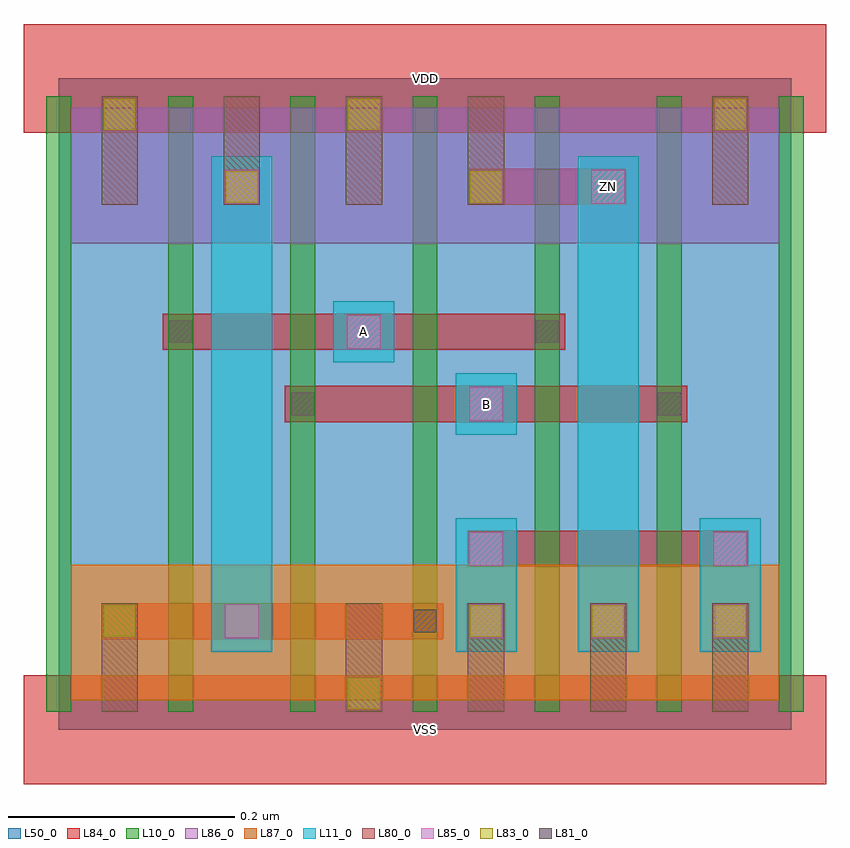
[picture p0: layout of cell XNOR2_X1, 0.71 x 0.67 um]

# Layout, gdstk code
import gdstk
lib = gdstk.Library(unit=1e-6, precision=1e-09)
def R(c, l, rs):  # rectangles x0, y0, x1, y1
    for r in rs: c.add(gdstk.rectangle(r[:2], r[2:], *l))
def A(c, l, x, y, w, h, nx, ny, dx, dy):  # array of equal rectangles
    R(c, l, [(x+i*dx, y+j*dy, x+i*dx+w, y+j*dy+h) for i in range(nx) for j in range(ny)])
L10_0 = (10, 0)
L11_0 = (11, 0)
L50_0 = (50, 0)
L80_0 = (80, 0)
L81_0 = (81, 0)
L83_0 = (83, 0)
L84_0 = (84, 0)
L85_0 = (85, 0)
L86_0 = (86, 0)
L87_0 = (87, 0)

xnor2_x1 = lib.new_cell('XNOR2_X1')
A(xnor2_x1, L10_0, -0.011, 0.016, 0.022, 0.544, 7, 1, 0.108, 0)
R(xnor2_x1, L11_0, [(0.135,0.069,0.189,0.507), (0.351,0.069,0.405,0.187), (0.459,0.069,0.513,0.507), (0.567,0.069,0.621,0.187), (0.351,0.261,0.405,0.315), (0.243,0.325,0.297,0.379)])
R(xnor2_x1, L50_0, [(0,0,0.648,0.576)])
A(xnor2_x1, L80_0, 0.254, 0.016, 0.032, 0.096, 4, 1, 0.108, 0)
A(xnor2_x1, L80_0, 0.038, 0.464, 0.032, 0.096, 4, 1, 0.108, 0)
R(xnor2_x1, L80_0, [(0.038,0.016,0.07,0.112), (0.578,0.464,0.61,0.56)])
R(xnor2_x1, L81_0, [(0.314,0.086,0.334,0.106), (0.206,0.278,0.226,0.298), (0.53,0.278,0.55,0.298), (0.098,0.342,0.118,0.362), (0.422,0.342,0.442,0.362)])
A(xnor2_x1, L83_0, 0.364, 0.082, 0.028, 0.028, 3, 1, 0.108, 0)
R(xnor2_x1, L83_0, [(0.256,0.018,0.284,0.046), (0.04,0.082,0.068,0.11), (0.148,0.466,0.176,0.494), (0.364,0.466,0.392,0.494), (0.04,0.53,0.068,0.558), (0.256,0.53,0.284,0.558), (0.58,0.53,0.608,0.558)])
A(xnor2_x1, L84_0, 0.362, 0.08, 0.032, 0.032, 3, 1, 0.108, 0)
R(xnor2_x1, L84_0, [(-0.031,-0.048,0.679,0.048), (0.038,0.08,0.34,0.112), (0.362,0.144,0.61,0.176), (0.2,0.272,0.556,0.304), (0.092,0.336,0.448,0.368), (0.146,0.464,0.178,0.496), (0.362,0.464,0.502,0.496), (-0.031,0.528,0.679,0.624)])
A(xnor2_x1, L85_0, 0.363, 0.081, 0.03, 0.03, 3, 1, 0.108, 0)
R(xnor2_x1, L85_0, [(0.147,0.081,0.177,0.111), (0.363,0.145,0.393,0.175), (0.579,0.145,0.609,0.175), (0.363,0.273,0.393,0.303), (0.255,0.337,0.285,0.367), (0.147,0.465,0.177,0.495), (0.471,0.465,0.501,0.495)])
R(xnor2_x1, L86_0, [(0.011,0.43,0.637,0.55)])
R(xnor2_x1, L87_0, [(0.011,0.026,0.637,0.146)])
xnor2_x1.add(gdstk.Label('VDD', (0.324,0.576), layer=88, texttype=0))
xnor2_x1.add(gdstk.Label('VSS', (0.324,0), layer=88, texttype=0))
xnor2_x1.add(gdstk.Label('ZN', (0.486,0.48), layer=31, texttype=0))
xnor2_x1.add(gdstk.Label('B', (0.378,0.288), layer=31, texttype=0))
xnor2_x1.add(gdstk.Label('A', (0.27,0.352), layer=31, texttype=0))

lib.write_gds('XNOR2_X1.gds')
